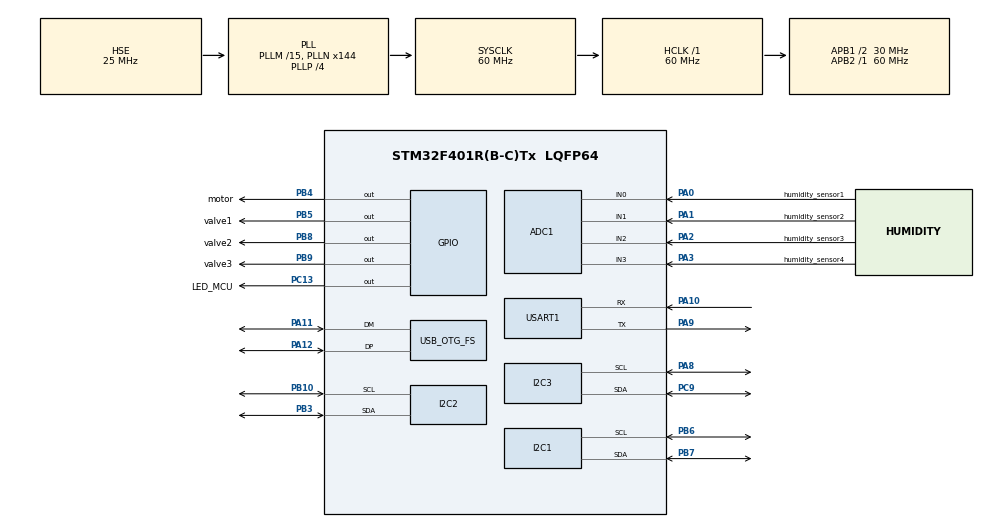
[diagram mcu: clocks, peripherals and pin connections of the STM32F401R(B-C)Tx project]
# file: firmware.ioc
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ADC1.Channel-0\#ChannelRegularConversion=ADC_CHANNEL_0
ADC1.NbrOfConversionFlag=1
ADC1.Rank-0\#ChannelRegularConversion=1
ADC1.SamplingTime-0\#ChannelRegularConversion=ADC_SAMPLETIME_3CYCLES
ADC1.master=1
Dma.Request0=USART1_RX
Dma.Request1=USART1_TX
Dma.USART1_RX.0.Direction=DMA_PERIPH_TO_MEMORY
Dma.USART1_RX.0.FIFOMode=DMA_FIFOMODE_DISABLE
Dma.USART1_RX.0.Instance=DMA2_Stream2
Dma.USART1_RX.0.MemDataAlignment=DMA_MDATAALIGN_BYTE
Dma.USART1_RX.0.MemInc=DMA_MINC_ENABLE
Dma.USART1_RX.0.Mode=DMA_NORMAL
Dma.USART1_RX.0.PeriphDataAlignment=DMA_PDATAALIGN_BYTE
Dma.USART1_RX.0.PeriphInc=DMA_PINC_DISABLE
Dma.USART1_RX.0.Priority=DMA_PRIORITY_LOW
Dma.USART1_TX.1.Direction=DMA_MEMORY_TO_PERIPH
Dma.USART1_TX.1.FIFOMode=DMA_FIFOMODE_DISABLE
Dma.USART1_TX.1.Instance=DMA2_Stream7
Dma.USART1_TX.1.MemDataAlignment=DMA_MDATAALIGN_BYTE
Dma.USART1_TX.1.MemInc=DMA_MINC_ENABLE
Dma.USART1_TX.1.Mode=DMA_NORMAL
Dma.USART1_TX.1.PeriphDataAlignment=DMA_PDATAALIGN_BYTE
Dma.USART1_TX.1.PeriphInc=DMA_PINC_DISABLE
Dma.USART1_TX.1.Priority=DMA_PRIORITY_LOW
Mcu.Family=STM32F4
Mcu.Name=STM32F401R(B-C)Tx
Mcu.Package=LQFP64
NVIC.DMA2_Stream2_IRQn=true\:0\:0\:false\:false\:true\:false\:true\:true
NVIC.DMA2_Stream7_IRQn=true\:0\:0\:false\:false\:true\:false\:true\:true
NVIC.OTG_FS_IRQn=true\:0\:0\:false\:false\:true\:false\:true\:true
NVIC.PriorityGroup=NVIC_PRIORITYGROUP_4
NVIC.USART1_IRQn=true\:0\:0\:false\:false\:true\:false\:true\:true
PA0-WKUP.GPIO_Label=humidity_sensor1
PA0-WKUP.Signal=ADCx_IN0
PA1.GPIO_Label=humidity_sensor2
PA1.Signal=ADCx_IN1
PA10.Mode=Asynchronous
PA10.Signal=USART1_RX
PA11.Mode=Device_Only
PA11.Signal=USB_OTG_FS_DM
PA12.Mode=Device_Only
PA12.Signal=USB_OTG_FS_DP
PA13.Mode=Serial_Wire
PA13.Signal=SYS_JTMS-SWDIO
PA14.Mode=Serial_Wire
PA14.Signal=SYS_JTCK-SWCLK
PA2.GPIO_Label=humidity_sensor3
PA2.Signal=ADCx_IN2
PA3.GPIO_Label=humidity_sensor4
PA3.Signal=ADCx_IN3
PA8.Mode=I2C
PA8.Signal=I2C3_SCL
PA9.Mode=Asynchronous
PA9.Signal=USART1_TX
PB10.Mode=I2C
PB10.Signal=I2C2_SCL
PB3.Mode=I2C
PB3.Signal=I2C2_SDA
PB4.GPIO_Label=motor
PB4.Signal=GPIO_Output
PB5.GPIO_Label=valve1
PB5.Signal=GPIO_Output
PB6.Mode=I2C
PB6.Signal=I2C1_SCL
PB7.Mode=I2C
PB7.Signal=I2C1_SDA
PB8.GPIO_Label=valve2
PB8.Signal=GPIO_Output
PB9.GPIO_Label=valve3
PB9.Signal=GPIO_Output
PC13-ANTI_TAMP.GPIO_Label=LED_MCU
PC13-ANTI_TAMP.Signal=GPIO_Output
PC9.Mode=I2C
PC9.Signal=I2C3_SDA
PH0\ -\ OSC_IN.Mode=HSE-External-Oscillator
PH0\ -\ OSC_IN.Signal=RCC_OSC_IN
PH1\ -\ OSC_OUT.Mode=HSE-External-Oscillator
PH1\ -\ OSC_OUT.Signal=RCC_OSC_OUT
ProjectManager.HeapSize=0x200
ProjectManager.StackSize=0x400
ProjectManager.TargetToolchain=CMake
RCC.48MHZClocksFreq_Value=48000000
RCC.AHBFreq_Value=60000000
RCC.APB1CLKDivider=RCC_HCLK_DIV2
RCC.APB1Freq_Value=30000000
RCC.APB1TimFreq_Value=60000000
RCC.APB2Freq_Value=60000000
RCC.APB2TimFreq_Value=60000000
RCC.CortexFreq_Value=60000000
RCC.HCLKFreq_Value=60000000
RCC.HSE_VALUE=25000000
RCC.HSI_VALUE=16000000
RCC.LSE_VALUE=32768
RCC.PLLM=15
RCC.PLLN=144
RCC.PLLP=RCC_PLLP_DIV4
RCC.PLLQ=5
RCC.SYSCLKFreq_VALUE=60000000
RCC.SYSCLKSource=RCC_SYSCLKSOURCE_PLLCLK
RCC.VCOOutputFreq_Value=240000000
SH.ADCx_IN0.0=ADC1_IN0,IN0
SH.ADCx_IN1.0=ADC1_IN1,IN1
SH.ADCx_IN2.0=ADC1_IN2,IN2
SH.ADCx_IN3.0=ADC1_IN3,IN3
USART1.VirtualMode=VM_ASYNC
USB_DEVICE.CLASS_NAME_FS=CDC
USB_DEVICE.VirtualMode=Cdc
USB_DEVICE.VirtualModeFS=Cdc_FS
USB_OTG_FS.VirtualMode=Device_Only
VP_USB_DEVICE_VS_USB_DEVICE_CDC_FS.Mode=CDC_FS
board=custom

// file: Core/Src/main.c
/* USER CODE BEGIN Header */
/**
  ******************************************************************************
  * @file           : main.c
  * @brief          : Main program body
  ******************************************************************************
  * @attention
  *
  * Copyright (c) 2026 STMicroelectronics.
  * All rights reserved.
  *
  * This software is licensed under terms that can be found in the LICENSE file
  * in the root directory of this software component.
  * If no LICENSE file comes with this software, it is provided AS-IS.
  *
  ******************************************************************************
  */
/* USER CODE END Header */
#include "main.h"
#include "adc.h"
#include "dma.h"
#include "i2c.h"
#include "usart.h"
#include "usb_device.h"
#include "gpio.h"

/* USER CODE BEGIN Includes */
#include "ec600n.h"
#include "irrigation_ctrl.h"
#include <stdio.h>
/* USER CODE END Includes */

/* USER CODE BEGIN PV */
ec600n_device_t ec600n;
/* USER CODE END PV */

void SystemClock_Config(void);

/* USER CODE BEGIN 0 */
#define DEVICE_ID                 "node_01"
#define MQTT_TOPIC_CONTROL        "irrigation/" DEVICE_ID "/control"   /* 1. Downlink: Control 4 relays */
#define MQTT_TOPIC_ACTION_ACK     "irrigation/" DEVICE_ID "/ack"       /* 2. Uplink: Action confirmation to backend */
#define MQTT_TOPIC_SENSOR_SYNC    "irrigation/" DEVICE_ID "/sensors"   /* 3. Uplink: Real-time sensor sync for WebSocket */
#define MQTT_TOPIC_SYNC_REQ       "irrigation/" DEVICE_ID "/sync_req"  /* Optional Downlink: Force sensor sync */

/* Helper to read analog moisture sensor from ADC1 */
static uint16_t read_soil_moisture_raw(uint32_t channel)
{
  ADC_ChannelConfTypeDef sConfig = {0};
  sConfig.Channel = channel;
  sConfig.Rank = 1;
  sConfig.SamplingTime = ADC_SAMPLETIME_28CYCLES;
  HAL_ADC_ConfigChannel(&hadc1, &sConfig);
  HAL_ADC_Start(&hadc1);
  HAL_ADC_PollForConversion(&hadc1, 10);
  uint16_t val = (uint16_t)HAL_ADC_GetValue(&hadc1);
  HAL_ADC_Stop(&hadc1);
  return val;
}

/* Sync sensor data & actuator state for WebSocket broadcasting */
static void send_sensor_telemetry_sync(void)
{
  if (ec600n.net_info.ip_address[0] == '\0') {
    return; /* 4G data not connected */
  }

  uint16_t raw1 = read_soil_moisture_raw(ADC_CHANNEL_0);
  uint16_t raw2 = read_soil_moisture_raw(ADC_CHANNEL_1);
  uint16_t raw3 = read_soil_moisture_raw(ADC_CHANNEL_2);
  uint16_t raw4 = read_soil_moisture_raw(ADC_CHANNEL_3);

  irrigation_state_t st;
  irrigation_get_state(&st);

  char payload[256];
  snprintf(payload, sizeof(payload),
           "{\"device_id\":\"%s\",\"sensors\":[%u,%u,%u,%u],\"pump\":%d,\"valve1\":%d,\"valve2\":%d,\"valve3\":%d,\"rssi_dbm\":%d}",
           DEVICE_ID, raw1, raw2, raw3, raw4,
           st.pump ? 1 : 0, st.valve1 ? 1 : 0, st.valve2 ? 1 : 0, st.valve3 ? 1 : 0,
           ec600n.net_info.signal.rssi_dbm);

  ec600n_log("[APP] Syncing sensor data to '%s': %s\r\n", MQTT_TOPIC_SENSOR_SYNC, payload);
  ec600n_mqtt_publish(&ec600n, MQTT_TOPIC_SENSOR_SYNC, payload, 0, 0);
}

/* Multi-Topic MQTT incoming message router */
static void on_mqtt_message_received(const char *topic, const uint8_t *payload, uint16_t len)
{
  ec600n_log("[APP] MQTT Recv on topic '%s': %.*s\r\n", topic, len, payload);

  char json_buf[160] = {0};
  if (len < sizeof(json_buf)) {
    memcpy(json_buf, payload, len);
    json_buf[len] = '\0';
  } else {
    return;
  }

  /* TOPIC 1: Control 4 Relays (Motor Water Pump PB4 + Solenoid Valves PB5, PB8, PB9) */
  if (strcmp(topic, MQTT_TOPIC_CONTROL) == 0 || strstr(topic, "control") != NULL) {
    char action_ack[160] = {0};
    /* Process payload through Safety Interlock */
    irrigation_process_rest_payload(json_buf, action_ack, sizeof(action_ack));

    /* TOPIC 2: Immediately send back the action confirmation to the backend */
    ec600n_mqtt_publish(&ec600n, MQTT_TOPIC_ACTION_ACK, action_ack, 1, 0);
    ec600n_log("[APP] Action result sent back to '%s': %s\r\n", MQTT_TOPIC_ACTION_ACK, action_ack);
  }
  /* TOPIC 3: On-demand request to sync sensor data */
  else if (strcmp(topic, MQTT_TOPIC_SYNC_REQ) == 0 || strstr(topic, "sync") != NULL) {
    send_sensor_telemetry_sync();
  }
}

static void on_sms_received(uint8_t index)
{
  ec600n_log("[APP] New SMS received at index %d\r\n", index);
  ec600n_sms_t sms;
  if (ec600n_sms_read(&ec600n, index, &sms) == EC600N_OK) {
    ec600n_log("[APP] SMS content: %s\r\n", sms.text);
    /* Process REST/command payload from SMS text */
    irrigation_process_rest_payload(sms.text, NULL, 0);
    ec600n_sms_delete(&ec600n, index);
  }
}

/**
 * @brief  Initializes the Quectel EC600N 4G LTE modem, verifies SIM and
 *         cellular registration, activates PDP context, and connects MQTT.
 */
void ec600n_system_init(void)
{
  /* 1. Initialize EC600N driver with USART1 2-way DMA */
  if (ec600n_init(&ec600n, &huart1) != EC600N_OK) {
    ec600n_log("[APP] Failed to initialize EC600N driver\r\n");
    return;
  }
  ec600n_log("[APP] EC600N driver initialized successfully\r\n");

  /* Register callback handlers */
  ec600n_set_mqtt_recv_cb(&ec600n, on_mqtt_message_received);
  ec600n_set_sms_recv_cb(&ec600n, on_sms_received);

  /* 2. Check communication with module (send AT) */
  ec600n_log("[APP] Checking communication with EC600N...\r\n");
  if (ec600n_check_communication(&ec600n) != EC600N_OK) {
    ec600n_log("[APP] EC600N not responding. Check baudrate and wiring!\r\n");
    return;
  }
  ec600n_log("[APP] EC600N response OK!\r\n");
  ec600n_echo(&ec600n, false); /* Disable echo for clean responses */

  /* 3. Read module details (Model, Firmware version, IMEI, IMSI) */
  ec600n_get_device_info(&ec600n);

  /* 4. Check SIM card */
  ec600n_log("[APP] Checking SIM status...\r\n");
  if (ec600n_check_sim(&ec600n) != EC600N_OK) {
    ec600n_log("[APP] SIM card not ready (Status code: %d)\r\n", (int)ec600n.sim_status);
    return;
  }
  ec600n_log("[APP] SIM card is READY! ICCID: %s\r\n", ec600n.info.iccid);

  /* 5. Wait for 4G LTE network registration */
  ec600n_log("[APP] Waiting for 4G LTE registration...\r\n");
  if (ec600n_wait_network_registered(&ec600n, 20000) != EC600N_OK) {
    ec600n_log("[APP] Network registration timeout\r\n");
    return;
  }
  ec600n_log("[APP] 4G LTE Registered on: %s\r\n", ec600n.net_info.operator_name);
  ec600n_log("[APP] Signal: RSSI=%d (%d dBm), %d/5 bars\r\n",
             ec600n.net_info.signal.rssi,
             ec600n.net_info.signal.rssi_dbm,
             ec600n.net_info.signal.bars);

  /* 6. Activate 4G Data (PDP Context) with APN */
  ec600n_log("[APP] Activating PDP context (APN: v-internet)...\r\n");
  if (ec600n_activate_pdp(&ec600n, "v-internet", NULL, NULL) != EC600N_OK) {
    ec600n_log("[APP] Failed to activate PDP context\r\n");
    return;
  }
  ec600n_log("[APP] 4G Data Connected! IP: %s\r\n", ec600n.net_info.ip_address);

  /* 7. Query Real-Time Clock */
  ec600n_time_t now;
  if (ec600n_get_time(&ec600n, &now) == EC600N_OK) {
    ec600n_log("[APP] Network Time: 20%02d-%02d-%02d %02d:%02d:%02d\r\n",
               now.year, now.month, now.day, now.hour, now.minute, now.second);
  }

  /* 8. Ping test to verify internet connectivity */
  uint32_t rtt = 0;
  if (ec600n_ping(&ec600n, "8.8.8.8", &rtt) == EC600N_OK) {
    ec600n_log("[APP] Ping 8.8.8.8 success: RTT = %lu ms\r\n", rtt);
  }

  /* 9. Connect MQTT and subscribe to multi-topics */
  ec600n_mqtt_cfg_t mqtt_cfg = {
    .broker        = "broker.hivemq.com",
    .port          = 1883,
    .client_id     = "STM32_Irrigation_" DEVICE_ID,
    .username      = NULL,
    .password      = NULL,
    .keepalive_sec = 60,
    .clean_session = 1
  };
  ec600n_log("[APP] Connecting to MQTT broker (%s)...\r\n", mqtt_cfg.broker);
  if (ec600n_mqtt_connect(&ec600n, &mqtt_cfg) == EC600N_OK) {
    ec600n_log("[APP] MQTT Connected successfully!\r\n");
    /* Multi-topic Subscription:
     * 1. Topic for controlling 4 relays (Motor + Valves)
     * 2. Topic for requesting on-demand sensor sync
     */
    ec600n_mqtt_subscribe(&ec600n, MQTT_TOPIC_CONTROL, 1);
    ec600n_mqtt_subscribe(&ec600n, MQTT_TOPIC_SYNC_REQ, 1);
    ec600n_log("[APP] Subscribed to control & sync topics\r\n");

    /* Send initial sensor telemetry sync */
    send_sensor_telemetry_sync();
  }
}
/* USER CODE END 0 */

int main(void)
{

  /* MCU Configuration--------------------------------------------------------*/

  /* Reset of all peripherals, Initializes the Flash interface and the Systick. */
  HAL_Init();

  /* Configure the system clock */
  SystemClock_Config();

  /* Initialize all configured peripherals */
  MX_GPIO_Init();
  MX_DMA_Init();
  MX_ADC1_Init();
  MX_I2C1_Init();
  MX_I2C2_Init();
  MX_I2C3_Init();
  MX_USB_DEVICE_Init();
  MX_USART1_UART_Init();
  /* USER CODE BEGIN 2 */
  HAL_Delay(5000);
  ec600n_log("\r\n==============================================\r\n");
  ec600n_log("   STM32F401 + Quectel EC600N 4G LTE System    \r\n");
  ec600n_log("==============================================\r\n");

  /* 0. Initialize Irrigation Actuators: Motor Pump (PB4) and Valves (PB5, PB8, PB9) */
  irrigation_init();

  /* Demonstrate Safety Interlock Rule via REST payload simulation */
  char test_resp[128];
  ec600n_log("[APP] Testing Safety Interlock...\r\n");
  /* Attempting to turn on pump with NO valves open -> DENIED by Safety Interlock */
  irrigation_process_rest_payload("{\"pump\":1,\"valve1\":0,\"valve2\":0,\"valve3\":0}", test_resp, sizeof(test_resp));
  ec600n_log("[APP] Interlock Test 1 (0 valves open): %s\r\n", test_resp);

  /* Turning on Valve 1 + Pump -> ALLOWED */
  irrigation_process_rest_payload("{\"pump\":1,\"valve1\":1,\"valve2\":0,\"valve3\":0}", test_resp, sizeof(test_resp));
  ec600n_log("[APP] Interlock Test 2 (1 valve open): %s\r\n", test_resp);

  /* Return to safe idle state (all off) */
  irrigation_emergency_stop();

  /* 1. Initialize EC600N 4G LTE Modem, Data & Cloud Services */
  ec600n_system_init();
  /* USER CODE END 2 */

  /* Infinite loop */
  /* USER CODE BEGIN WHILE */
  uint32_t last_heartbeat = 0;
  uint32_t last_sensor_sync = 0;
  uint32_t last_rest_poll = 0;
  while (1)
  {
    /* Service EC600N event loop and incoming DMA / URC data */
    ec600n_process(&ec600n);

    /* Heartbeat LED blink every 1 second */
    if (HAL_GetTick() - last_heartbeat >= 1000) {
      last_heartbeat = HAL_GetTick();
      HAL_GPIO_TogglePin(LED_MCU_GPIO_Port, LED_MCU_Pin);
    }

    /* Periodic sensor telemetry sync for WebSocket server (every 10s) */
    if (HAL_GetTick() - last_sensor_sync >= 10000) {
      last_sensor_sync = HAL_GetTick();
      send_sensor_telemetry_sync();
    }

    /* Optional: Periodic REST API poll from backend every 30 seconds */
    if (HAL_GetTick() - last_rest_poll >= 30000) {
      last_rest_poll = HAL_GetTick();
      if (ec600n.net_info.ip_address[0] != '\0') {
        /* Example: Poll custom backend REST endpoint */
        /* irrigation_poll_backend_api(&ec600n, "http://api.yourdomain.com/irrigation/control", NULL, 0); */
      }
    }
    /* USER CODE END WHILE */

  }
}

void SystemClock_Config(void)
{
  RCC_OscInitTypeDef RCC_OscInitStruct = {0};
  RCC_ClkInitTypeDef RCC_ClkInitStruct = {0};

  /** Configure the main internal regulator output voltage
  */
  __HAL_RCC_PWR_CLK_ENABLE();
  __HAL_PWR_VOLTAGESCALING_CONFIG(PWR_REGULATOR_VOLTAGE_SCALE2);

  /** Initializes the RCC Oscillators according to the specified parameters
  * in the RCC_OscInitTypeDef structure.
  */
  RCC_OscInitStruct.OscillatorType = RCC_OSCILLATORTYPE_HSE;
  RCC_OscInitStruct.HSEState = RCC_HSE_ON;
  RCC_OscInitStruct.PLL.PLLState = RCC_PLL_ON;
  RCC_OscInitStruct.PLL.PLLSource = RCC_PLLSOURCE_HSE;
  RCC_OscInitStruct.PLL.PLLM = 15;
  RCC_OscInitStruct.PLL.PLLN = 144;
  RCC_OscInitStruct.PLL.PLLP = RCC_PLLP_DIV4;
  RCC_OscInitStruct.PLL.PLLQ = 5;
  if (HAL_RCC_OscConfig(&RCC_OscInitStruct) != HAL_OK)
  {
    Error_Handler();
  }

  /** Initializes the CPU, AHB and APB buses clocks
  */
  RCC_ClkInitStruct.ClockType = RCC_CLOCKTYPE_HCLK|RCC_CLOCKTYPE_SYSCLK
                              |RCC_CLOCKTYPE_PCLK1|RCC_CLOCKTYPE_PCLK2;
  RCC_ClkInitStruct.SYSCLKSource = RCC_SYSCLKSOURCE_PLLCLK;
  RCC_ClkInitStruct.AHBCLKDivider = RCC_SYSCLK_DIV1;
  RCC_ClkInitStruct.APB1CLKDivider = RCC_HCLK_DIV2;
  RCC_ClkInitStruct.APB2CLKDivider = RCC_HCLK_DIV1;

  if (HAL_RCC_ClockConfig(&RCC_ClkInitStruct, FLASH_LATENCY_1) != HAL_OK)
  {
    Error_Handler();
  }
}

void Error_Handler(void)
{
  __disable_irq();
  while (1)
  {
  }
}
